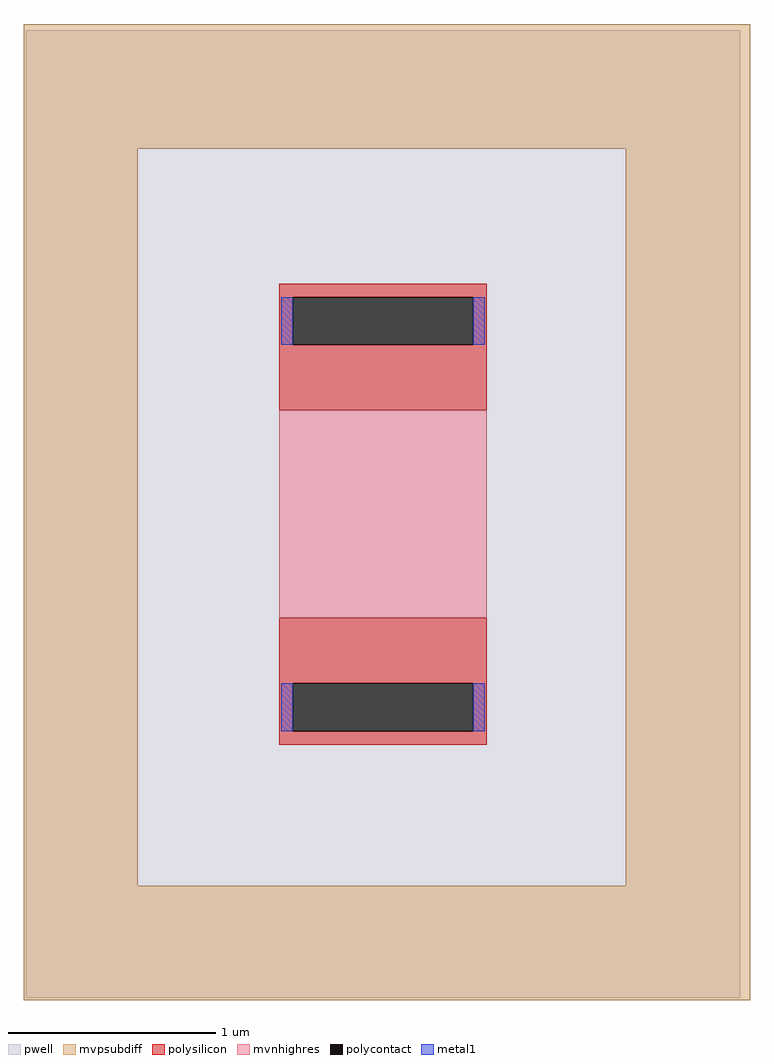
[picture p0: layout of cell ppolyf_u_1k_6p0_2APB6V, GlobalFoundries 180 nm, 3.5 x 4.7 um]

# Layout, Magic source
magic
tech gf180mcuD
magscale 1 10
<< pwell >>
rect -344 -466 344 466
<< mvpsubdiff >>
rect -346 352 354 472
rect -346 -358 -236 352
rect 234 -358 354 352
rect -346 -468 354 -358
<< polysilicon >>
rect -100 209 100 222
rect -100 163 -87 209
rect 87 163 100 209
rect -100 100 100 163
rect -100 -163 100 -100
rect -100 -209 -87 -163
rect 87 -209 100 -163
rect -100 -222 100 -209
<< polycontact >>
rect -87 163 87 209
rect -87 -209 87 -163
<< mvnhighres >>
rect -100 -100 100 100
<< metal1 >>
rect -98 163 -87 209
rect 87 163 98 209
rect -98 -209 -87 -163
rect 87 -209 98 -163
<< properties >>
string FIXED_BBOX -276 -398 276 398
string gencell ppolyf_u_1k_6p0
string library gf180mcu
string parameters w 1.0 l 1.0 m 1 nx 1 wmin 1.000 lmin 1.000 class resistor rho 1000 val 1.0k dummy 0 dw 0.0 term 0.0 sterm 0.0 caplen 0.4 snake 0 glc 0 grc 0 gtc 0 gbc 0 roverlap 1 endcov 100 full_metal 0 compatible {ppolyf_u_1k ppolyf_u_1k_6p0}
<< end >>
